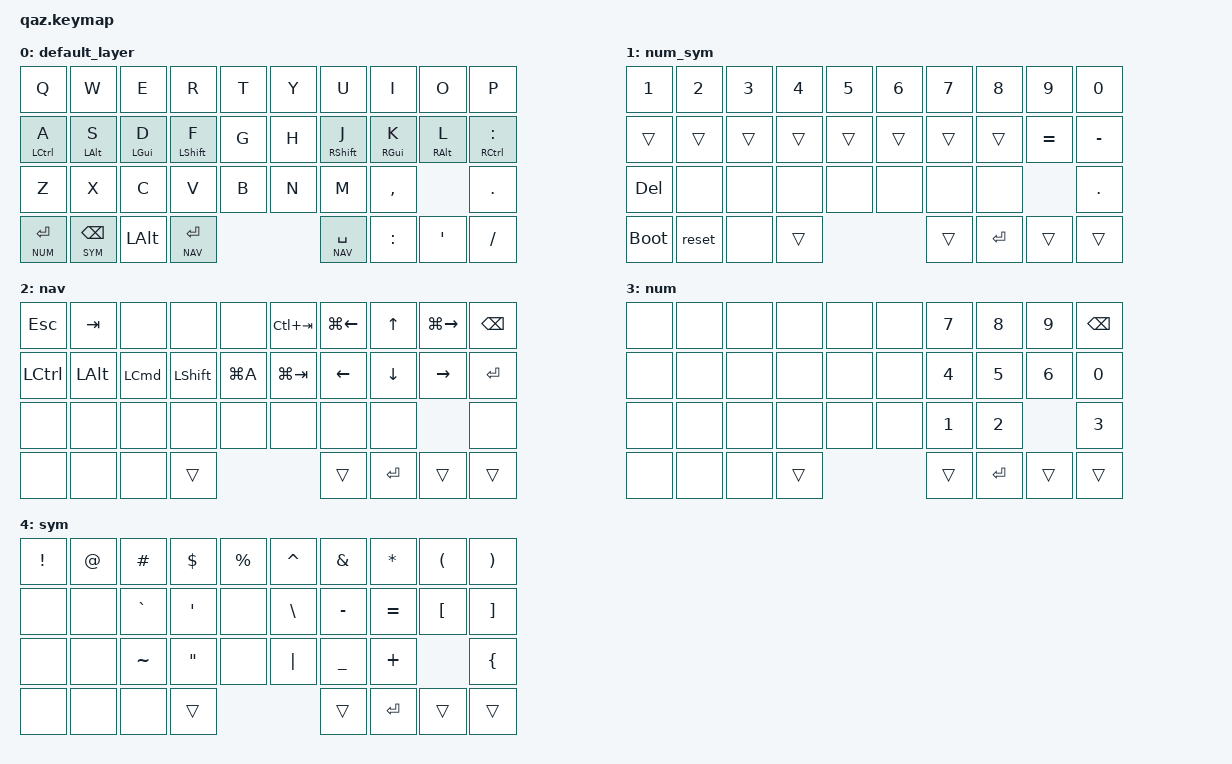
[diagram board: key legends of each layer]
#include <behaviors.dtsi>
#include <dt-bindings/zmk/keys.h>
#include <dt-bindings/zmk/bt.h>
#include <dt-bindings/zmk/outputs.h>

#define DEFAULT 0
#define NUM_SYM 1
#define NAV     2
#define NUM     3
#define SYM     4

/ {
    behaviors {
        hm: homerow_mods {
            compatible = "zmk,behavior-hold-tap";
            label = "homerow mods";
            #binding-cells = <2>;
            tapping-term-ms = <225>;
            flavor = "tap-preferred";
            bindings = <&kp>, <&kp>;
        };
    };

    combos {
        compatible = "zmk,combos";
        combo_backspace {
            timeout-ms = <50>;
            key-positions = <8 9>;
            bindings = <&kp BSPC>;
        };
        combo_capslock {
            timeout-ms = <50>;
            key-positions = <10 11>;
            bindings = <&kp CAPSLOCK>;
        };
        combo_return {
            timeout-ms = <50>;
            key-positions = <18 19>;
            bindings = <&kp RET>;
        };
        combo_left_parenthesis {
            timeout-ms = <50>;
            key-positions = <3 13>;
            bindings = <&kp LPAR>;
        };
        combo_right_parenthesis {
            timeout-ms = <50>;
            key-positions = <6 16>;
            bindings = <&kp RPAR>;
        };
    };

    keymap {
        compatible = "zmk,keymap";
        default_layer {
            bindings = <
                &kp Q            &kp W          &kp E          &kp R       &kp T  &kp Y  &kp U       &kp I       &kp O        &kp P
                &hm LCTRL A      &hm LALT S     &hm LGUI D     &hm LSHFT F &kp G  &kp H  &hm RSHFT J &hm RGUI K &hm RALT L    &hm RCTRL COLON
                &kp Z            &kp X          &kp C          &kp V  &kp B  &kp N       &kp M       &kp COMMA                &kp DOT
                &lt NUM RET      &lt SYM BSPC   &kp LALT       &lt NAV RET    &lt NAV SPACE   &kp COLON   &kp SQT             &kp FSLH
            >;
        };
        num_sym {
            bindings = <
                &kp N1     &kp N2     &kp N3     &kp N4     &kp N5 &kp N6 &kp N7     &kp N8      &kp N9    &kp N0
                &trans     &trans     &trans     &trans     &trans &trans &trans     &trans      &kp EQUAL &kp MINUS
                &kp DEL               &none      &none      &none  &none  &none      &none       &none     &kp DOT
                &bootloader &reset    &none         &trans        &trans             &kp RET     &trans    &trans
            >;
        };

        nav {
            bindings = <
                &kp ESC    &kp TAB    &none      &none       &none        &kp LC(TAB)   &kp LG(LEFT)  &kp UP       &kp LG(RIGHT)  &kp BSPC
                &kp LCTRL  &kp LALT   &kp LCMD   &kp LSHFT   &kp LG(A)    &kp LG(TAB)   &kp LEFT      &kp DOWN     &kp RIGHT      &kp RET
                &none      &none      &none      &none       &none        &none         &none         &none                       &none
                &none      &none      &none      &trans        &trans             &kp RET      &trans                             &trans
            >;
        };

        num {
            bindings = <
                &none    &none    &none    &none    &none    &none    &kp N7    &kp N8    &kp N9    &kp BSPC
                &none    &none    &none    &none    &none    &none    &kp N4    &kp N5    &kp N6    &kp N0
                &none    &none    &none    &none    &none    &none    &kp N1    &kp N2    &kp N3
                &none    &none    &none    &trans   &trans   &kp RET  &trans    &trans
            >;
        };

        sym {
            bindings = <
                &kp EXCL    &kp AT    &kp HASH  &kp DOLLAR    &kp PERCENT    &kp CARET   &kp AMPERSAND    &kp ASTERISK    &kp LPAR    &kp RPAR
                &none    &none    &kp GRAVE    &kp SQT    &none    &kp BACKSLASH  &kp MINUS &kp EQUAL &kp LEFT_BRACKET &kp RIGHT_BRACKET
                &none    &none    &kp TILDE    &kp DQT    &none    &kp PIPE       &kp UNDER &kp PLUS  &kp LEFT_BRACE
                &none    &none    &none        &trans   &trans   &kp RET  &trans    &trans
            >;
        };
    };
};
